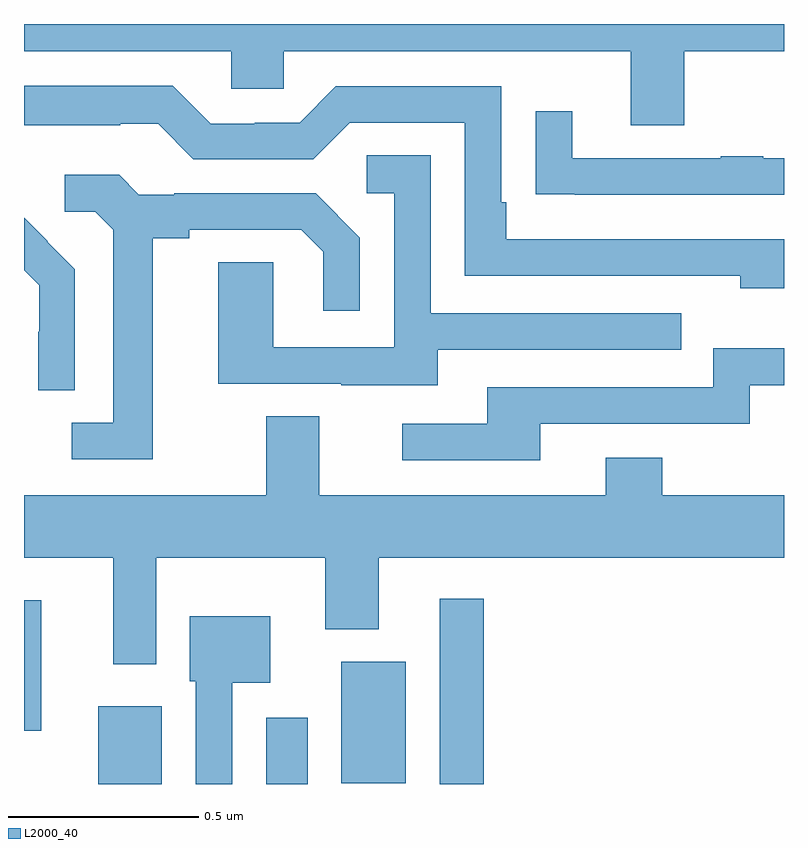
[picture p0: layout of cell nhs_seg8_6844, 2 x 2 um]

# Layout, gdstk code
import gdstk
lib = gdstk.Library(unit=1e-6, precision=1e-09)
def R(c, l, rs):  # rectangles x0, y0, x1, y1
    for r in rs: c.add(gdstk.rectangle(r[:2], r[2:], *l))
def P(c, l, *ps):  # polygons
    for p in ps: c.add(gdstk.Polygon(p, *l))
L2000_40 = (2000, 40)

nhs_seg8_6844 = lib.new_cell('nhs_seg8_6844')
R(nhs_seg8_6844, L2000_40, [(202.196,1119.9,202.363,1120.105), (202.637,1119.9,202.747,1120.075), (203.094,1119.9,203.21,1120.387), (202.835,1119.902,203.005,1120.222), (202,1120.04,202.045,1120.384)])
P(nhs_seg8_6844, L2000_40, [(202,1121.828),(202.545,1121.828),(202.545,1121.73),(202.683,1121.73),(202.683,1121.828),(203.597,1121.828),(203.597,1121.634),(203.737,1121.634),(203.737,1121.828),(204,1121.828),(204,1121.9),(202,1121.9)],
  [(204,1121.334),(203.269,1121.334),(203.269,1121.431),(203.256,1121.431),(203.256,1121.736),(202.821,1121.736),(202.725,1121.64),(202.607,1121.64),(202.607,1121.637),(202.491,1121.637),(202.391,1121.737),(202,1121.737),(202,1121.633),(202.253,1121.633),(202.253,1121.637),(202.353,1121.637),(202.446,1121.544),(202.761,1121.544),(202.857,1121.64),(203.16,1121.64),(203.16,1121.238),(203.885,1121.238),(203.885,1121.204),(204,1121.204)],
  [(204,1121.547),(203.945,1121.547),(203.945,1121.552),(203.833,1121.552),(203.833,1121.547),(203.443,1121.547),(203.443,1121.671),(203.347,1121.671),(203.347,1121.452),(203.449,1121.452),(203.449,1121.451),(204,1121.451)],
  [(203.089,1121.043),(203.729,1121.043),(203.729,1121.139),(203.07,1121.139),(203.07,1121.555),(202.902,1121.555),(202.902,1121.454),(202.974,1121.454),(202.974,1121.049),(202.656,1121.049),(202.656,1121.273),(202.511,1121.273),(202.511,1120.953),(202.835,1120.953),(202.835,1120.949),(203.089,1120.949)],
  [(202.339,1121.336),(202.435,1121.336),(202.435,1121.358),(202.73,1121.358),(202.787,1121.301),(202.787,1121.145),(202.884,1121.145),(202.884,1121.338),(202.768,1121.454),(202.396,1121.454),(202.396,1121.451),(202.302,1121.451),(202.25,1121.503),(202.107,1121.503),(202.107,1121.406),(202.188,1121.406),(202.235,1121.359),(202.235,1120.851),(202.125,1120.851),(202.125,1120.755),(202.339,1120.755)],
  [(202.134,1121.254),(202.061,1121.327),(202.062,1121.328),(202,1121.39),(202,1121.252),(202.04,1121.213),(202.04,1121.09),(202.038,1121.09),(202.038,1120.936),(202.134,1120.936)],
  [(203.359,1120.848),(203.91,1120.848),(203.91,1120.95),(204,1120.95),(204,1121.047),(203.814,1121.047),(203.814,1120.944),(203.219,1120.944),(203.219,1120.848),(202.995,1120.848),(202.995,1120.752),(203.359,1120.752)],
  [(202.348,1120.496),(202.793,1120.496),(202.793,1120.307),(202.933,1120.307),(202.933,1120.496),(204,1120.496),(204,1120.66),(203.679,1120.66),(203.679,1120.759),(203.531,1120.759),(203.531,1120.66),(202.777,1120.66),(202.777,1120.868),(202.637,1120.868),(202.637,1120.66),(202,1120.66),(202,1120.496),(202.235,1120.496),(202.235,1120.215),(202.348,1120.215)],
  [(202.548,1120.166),(202.648,1120.166),(202.648,1120.342),(202.436,1120.342),(202.436,1120.17),(202.452,1120.17),(202.452,1119.9),(202.548,1119.9)])

lib.write_gds('nhs_seg8_6844.gds')
